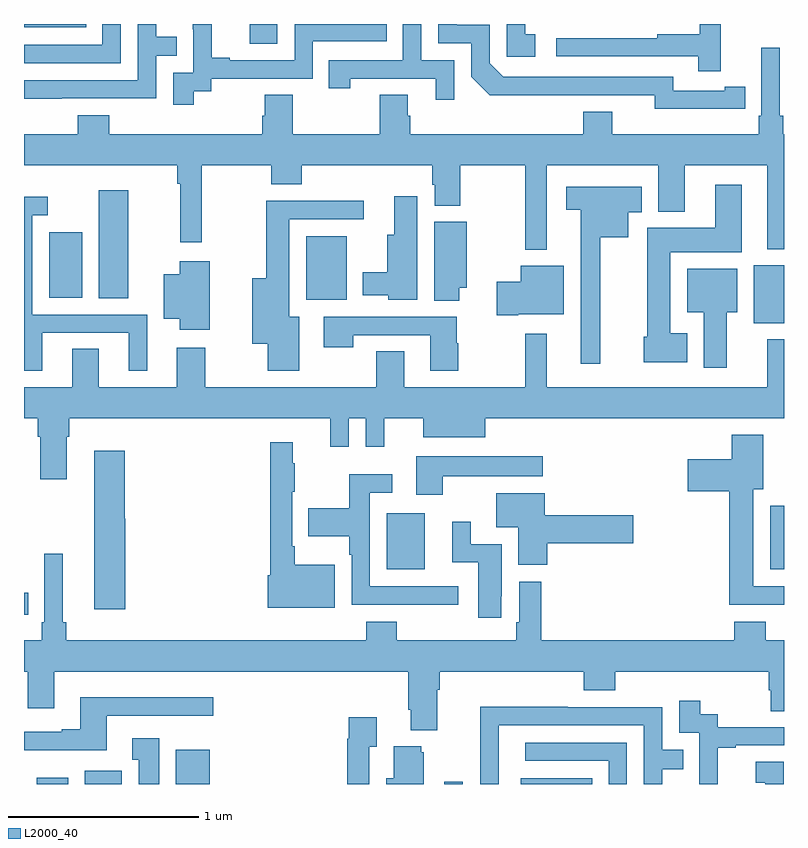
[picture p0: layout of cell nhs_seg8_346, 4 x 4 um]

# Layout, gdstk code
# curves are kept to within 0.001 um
import gdstk
lib = gdstk.Library(unit=1e-6, precision=1e-09)
def R(c, l, rs):  # rectangles x0, y0, x1, y1
    for r in rs: c.add(gdstk.rectangle(r[:2], r[2:], *l))
def P(c, l, *ps):  # polygons
    for p in ps: c.add(gdstk.Polygon(p, *l))
L2000_40 = (2000, 40)

nhs_seg8_346 = lib.new_cell('nhs_seg8_346')
R(nhs_seg8_346, L2000_40, [(133.067,1123.9,133.234,1123.933), (133.319,1123.9,133.515,1123.969), (133.799,1123.9,133.978,1124.08), (135.213,1123.9,135.309,1123.912), (135.614,1123.9,135.992,1123.93), (133,1124.79,133.022,1124.906), (134.909,1125.029,135.109,1125.325), (136.928,1125.029,137,1125.364), (136.841,1126.325,137,1126.63), (134.486,1126.448,134.698,1126.783), (133.394,1126.456,133.549,1127.026), (133.133,1126.46,133.306,1126.804), (134.187,1127.796,134.334,1127.9), (133,1127.882,133.328,1127.9)])
P(nhs_seg8_346, L2000_40, [(135.264,1127.709),(135.09,1127.709),(135.09,1127.9),(134.994,1127.9),(134.994,1127.709),(134.605,1127.709),(134.605,1127.562),(134.716,1127.562),(134.716,1127.613),(135.167,1127.613),(135.167,1127.502),(135.264,1127.502)],
  [(133.894,1127.545),(133.986,1127.545),(133.986,1127.613),(134.52,1127.613),(134.52,1127.808),(134.909,1127.808),(134.909,1127.9),(134.424,1127.9),(134.424,1127.709),(134.083,1127.709),(134.083,1127.722),(133.988,1127.722),(133.988,1127.9),(133.889,1127.9),(133.889,1127.873),(133.89,1127.873),(133.89,1127.643),(133.785,1127.643),(133.785,1127.475),(133.894,1127.475)],
  [(133.509,1127.9),(133.413,1127.9),(133.413,1127.79),(133,1127.79),(133,1127.694),(133.509,1127.694)],
  [(136.667,1127.9),(136.557,1127.9),(136.557,1127.846),(136.333,1127.846),(136.333,1127.826),(135.801,1127.826),(135.801,1127.73),(136.549,1127.73),(136.549,1127.652),(136.667,1127.652)],
  [(136.688,1127.454),(136.796,1127.454),(136.796,1127.57),(136.688,1127.57),(136.688,1127.55),(136.416,1127.55),(136.416,1127.622),(135.522,1127.622),(135.45,1127.694),(135.45,1127.895),(135.277,1127.895),(135.277,1127.9),(135.18,1127.9),(135.18,1127.799),(135.354,1127.799),(135.354,1127.622),(135.452,1127.525),(136.32,1127.526),(136.32,1127.453)],
  [(135.691,1127.847),(135.638,1127.847),(135.638,1127.9),(135.54,1127.9),(135.54,1127.727),(135.691,1127.727)],
  [(133.199,1127.508),(133.695,1127.508),(133.695,1127.733),(133.805,1127.733),(133.805,1127.834),(133.695,1127.834),(133.695,1127.9),(133.599,1127.9),(133.599,1127.604),(133,1127.604),(133,1127.507),(133.199,1127.507)],
  [(133.448,1127.419),(133.283,1127.419),(133.283,1127.32),(133,1127.32),(133,1127.156),(133.807,1127.156),(133.807,1127.06),(133.822,1127.06),(133.822,1126.752),(133.936,1126.752),(133.936,1127.156),(134.302,1127.156),(134.302,1127.057),(134.462,1127.057),(134.462,1127.156),(135.149,1127.156),(135.149,1127.055),(135.161,1127.055),(135.161,1126.943),(135.297,1126.943),(135.297,1127.156),(135.637,1127.156),(135.637,1126.712),(135.751,1126.712),(135.751,1127.156),(136.337,1127.156),(136.337,1126.913),(136.477,1126.913),(136.477,1127.156),(136.913,1127.156),(136.913,1126.715),(137,1126.715),(137,1127.32),(136.997,1127.32),(136.997,1127.416),(136.978,1127.416),(136.978,1127.776),(136.881,1127.776),(136.881,1127.416),(136.868,1127.416),(136.868,1127.32),(136.096,1127.32),(136.096,1127.437),(135.944,1127.437),(135.944,1127.32),(135.032,1127.32),(135.032,1127.418),(135.019,1127.418),(135.019,1127.528),(134.872,1127.528),(134.872,1127.32),(134.415,1127.32),(134.415,1127.528),(134.267,1127.528),(134.267,1127.418),(134.255,1127.418),(134.255,1127.32),(133.448,1127.32)],
  [(136.492,1126.273),(136.402,1126.273),(136.402,1126.7),(136.777,1126.7),(136.777,1127.053),(136.637,1127.053),(136.637,1126.828),(136.28,1126.828),(136.28,1126.254),(136.262,1126.254),(136.262,1126.121),(136.492,1126.121)],
  [(136.033,1126.778),(136.18,1126.778),(136.18,1126.91),(136.252,1126.91),(136.252,1127.044),(135.855,1127.044),(135.855,1126.922),(135.929,1126.922),(135.929,1126.113),(136.033,1126.113)],
  [(135.07,1126.993),(134.948,1126.993),(134.948,1126.792),(134.912,1126.792),(134.912,1126.594),(134.783,1126.594),(134.783,1126.472),(134.916,1126.472),(134.916,1126.448),(135.07,1126.448)],
  [(133.096,1126.275),(133.55,1126.275),(133.55,1126.074),(133.648,1126.074),(133.648,1126.371),(133.044,1126.371),(133.044,1126.893),(133.126,1126.893),(133.126,1126.99),(133,1126.99),(133,1126.074),(133.096,1126.074)],
  [(134.449,1126.36),(134.395,1126.36),(134.395,1126.872),(134.788,1126.872),(134.788,1126.97),(134.275,1126.97),(134.275,1126.561),(134.201,1126.561),(134.201,1126.217),(134.282,1126.217),(134.282,1126.074),(134.449,1126.074)],
  [(135.292,1126.511),(135.331,1126.511),(135.331,1126.858),(135.158,1126.858),(135.158,1126.444),(135.292,1126.444)],
  [(133.978,1126.651),(133.82,1126.651),(133.82,1126.582),(133.736,1126.582),(133.736,1126.349),(133.82,1126.349),(133.82,1126.29),(133.978,1126.29)],
  [(135.601,1126.373),(135.841,1126.373),(135.841,1126.627),(135.614,1126.627),(135.614,1126.544),(135.489,1126.544),(135.489,1126.366),(135.601,1126.366)],
  [(136.699,1126.382),(136.753,1126.382),(136.753,1126.612),(136.49,1126.612),(136.49,1126.382),(136.577,1126.382),(136.577,1126.092),(136.699,1126.092)],
  [(135.285,1126.221),(135.277,1126.221),(135.277,1126.359),(134.577,1126.359),(134.577,1126.2),(134.733,1126.2),(134.733,1126.263),(135.137,1126.263),(135.137,1126.074),(135.285,1126.074)],
  [(137,1126.24),(136.913,1126.24),(136.913,1125.988),(135.751,1125.988),(135.751,1126.27),(135.637,1126.27),(135.637,1125.988),(135.001,1125.988),(135.001,1126.178),(134.854,1126.178),(134.854,1125.988),(133.953,1125.988),(133.953,1126.195),(133.805,1126.195),(133.805,1125.988),(133.393,1125.988),(133.393,1126.19),(133.253,1126.19),(133.253,1125.988),(133,1125.988),(133,1125.824),(133.073,1125.824),(133.073,1125.728),(133.085,1125.728),(133.085,1125.504),(133.225,1125.504),(133.225,1125.728),(133.238,1125.728),(133.238,1125.824),(134.612,1125.824),(134.612,1125.675),(134.709,1125.675),(134.709,1125.824),(134.799,1125.824),(134.799,1125.675),(134.897,1125.675),(134.897,1125.824),(135.101,1125.824),(135.101,1125.725),(135.427,1125.725),(135.427,1125.824),(137,1125.824)],
  [(137,1124.94),(136.837,1124.94),(136.837,1125.452),(136.891,1125.452),(136.891,1125.739),(136.724,1125.739),(136.724,1125.61),(136.494,1125.61),(136.494,1125.44),(136.712,1125.44),(136.712,1124.843),(137,1124.843)],
  [(134.635,1125.055),(134.425,1125.055),(134.425,1125.151),(134.412,1125.151),(134.412,1125.439),(134.425,1125.439),(134.425,1125.587),(134.414,1125.587),(134.414,1125.7),(134.296,1125.7),(134.296,1124.999),(134.282,1124.999),(134.282,1124.828),(134.635,1124.828)],
  [(133.534,1125.297),(133.529,1125.297),(133.529,1125.655),(133.37,1125.655),(133.37,1124.82),(133.534,1124.82)],
  [(135.205,1125.521),(135.73,1125.521),(135.73,1125.625),(135.065,1125.625),(135.065,1125.423),(135.205,1125.423)],
  [(135.286,1124.94),(134.82,1124.94),(134.82,1125.432),(134.938,1125.432),(134.938,1125.529),(134.712,1125.529),(134.712,1125.351),(134.497,1125.351),(134.497,1125.203),(134.712,1125.203),(134.712,1125.107),(134.724,1125.107),(134.724,1124.844),(135.049,1124.844),(135.049,1124.843),(135.286,1124.843)],
  [(135.755,1125.167),(136.207,1125.167),(136.207,1125.314),(135.742,1125.314),(135.742,1125.43),(135.485,1125.43),(135.485,1125.251),(135.602,1125.251),(135.602,1125.054),(135.755,1125.054)],
  [(135.513,1124.887),(135.514,1124.887),(135.514,1125.162),(135.352,1125.162),(135.352,1125.28),(135.254,1125.28),(135.254,1125.066),(135.392,1125.066),(135.392,1124.775),(135.513,1124.775)],
  [(135.175,1124.396),(135.188,1124.396),(135.188,1124.492),(135.947,1124.492),(135.947,1124.393),(136.112,1124.393),(136.112,1124.492),(136.919,1124.492),(136.919,1124.394),(136.931,1124.394),(136.931,1124.284),(137,1124.284),(137,1124.656),(136.904,1124.656),(136.904,1124.755),(136.739,1124.755),(136.739,1124.656),(135.722,1124.656),(135.722,1124.965),(135.606,1124.965),(135.606,1124.752),(135.591,1124.752),(135.591,1124.656),(134.961,1124.656),(134.961,1124.755),(134.801,1124.755),(134.801,1124.656),(133.223,1124.656),(133.223,1124.752),(133.204,1124.752),(133.204,1125.112),(133.107,1125.112),(133.107,1124.752),(133.094,1124.752),(133.094,1124.656),(133,1124.656),(133,1124.492),(133.019,1124.492),(133.019,1124.298),(133.159,1124.298),(133.159,1124.492),(135.023,1124.492),(135.023,1124.29),(135.035,1124.29),(135.035,1124.183),(135.175,1124.183)],
  [(133.435,1124.259),(133.996,1124.259),(133.996,1124.356),(133.295,1124.356),(133.295,1124.188),(133.199,1124.188),(133.199,1124.175),(133,1124.175),(133,1124.078),(133.435,1124.078)],
  [(136.652,1124.091),(136.747,1124.091),(136.747,1124.103),(137,1124.103),(137,1124.199),(136.65,1124.199),(136.65,1124.268),(136.558,1124.268),(136.558,1124.338),(136.449,1124.338),(136.449,1124.169),(136.554,1124.169),(136.554,1123.94),(136.553,1123.94),(136.553,1123.9),(136.652,1123.9)],
  [(135.498,1124.208),(136.263,1124.208),(136.263,1123.9),(136.359,1123.9),(136.359,1123.978),(136.469,1123.978),(136.469,1124.079),(136.359,1124.079),(136.359,1124.304),(135.863,1124.304),(135.863,1124.306),(135.4,1124.306),(135.4,1123.999),(135.402,1123.999),(135.402,1123.9),(135.498,1123.9)],
  [(134.817,1124.095),(134.857,1124.095),(134.857,1124.251),(134.709,1124.251),(134.709,1124.138),(134.701,1124.138),(134.701,1123.9),(134.817,1123.9)],
  [(133.711,1124.14),(133.571,1124.14),(133.571,1124.027),(133.604,1124.027),(133.604,1123.9),(133.711,1123.9)],
  [(136.173,1124.118),(135.639,1124.118),(135.639,1124.022),(136.077,1124.022),(136.077,1123.9),(136.173,1123.9)],
  [(135.103,1124.067),(135.092,1124.067),(135.092,1124.098),(134.945,1124.098),(134.945,1123.93),(134.906,1123.93),(134.906,1123.9),(135.103,1123.9)],
  [(136.998,1124.017),(136.851,1124.017),(136.851,1123.907),(136.9,1123.907),(136.9,1123.9),(136.998,1123.9)])

lib.write_gds('nhs_seg8_346.gds')
